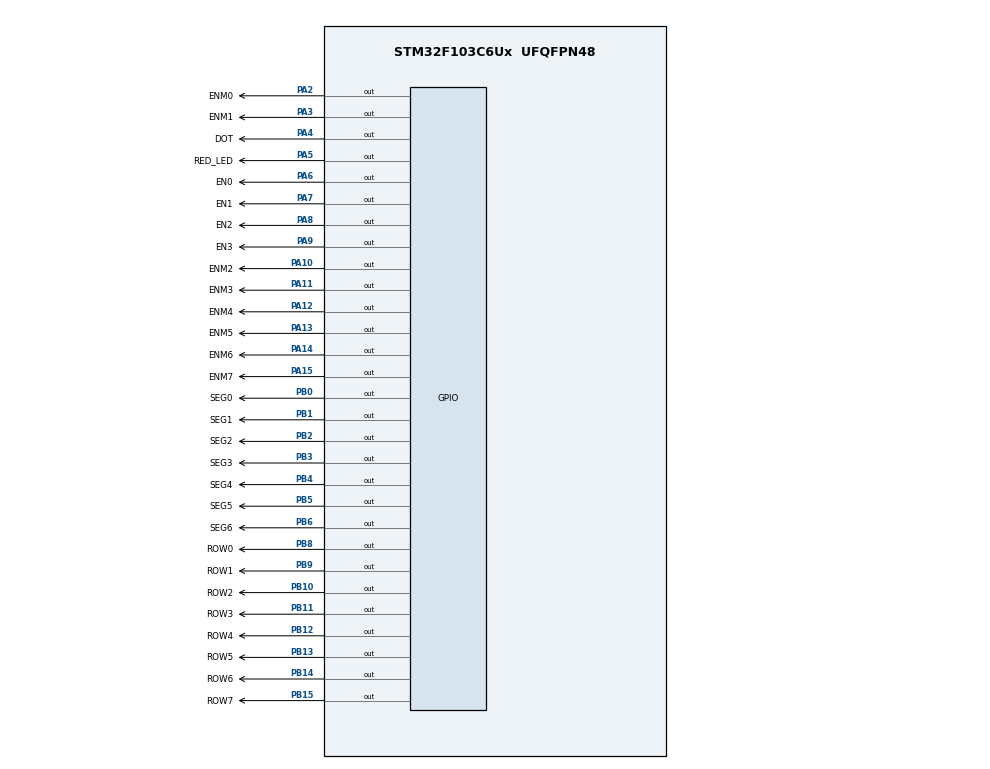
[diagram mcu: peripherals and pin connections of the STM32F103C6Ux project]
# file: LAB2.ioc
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Mcu.Family=STM32F1
Mcu.Name=STM32F103C6Ux
Mcu.Package=UFQFPN48
NVIC.PriorityGroup=NVIC_PRIORITYGROUP_4
NVIC.TIM2_IRQn=true\:0\:0\:false\:false\:true\:true\:true
PA10.GPIO_Label=ENM2
PA10.Signal=GPIO_Output
PA11.GPIO_Label=ENM3
PA11.Signal=GPIO_Output
PA12.GPIO_Label=ENM4
PA12.Signal=GPIO_Output
PA13.GPIO_Label=ENM5
PA13.Signal=GPIO_Output
PA14.GPIO_Label=ENM6
PA14.Signal=GPIO_Output
PA15.GPIO_Label=ENM7
PA15.Signal=GPIO_Output
PA2.GPIO_Label=ENM0
PA2.Signal=GPIO_Output
PA3.GPIO_Label=ENM1
PA3.Signal=GPIO_Output
PA4.GPIO_Label=DOT
PA4.Signal=GPIO_Output
PA5.GPIO_Label=RED_LED
PA5.Signal=GPIO_Output
PA6.GPIO_Label=EN0
PA6.Signal=GPIO_Output
PA7.GPIO_Label=EN1
PA7.Signal=GPIO_Output
PA8.GPIO_Label=EN2
PA8.Signal=GPIO_Output
PA9.GPIO_Label=EN3
PA9.Signal=GPIO_Output
PB0.GPIO_Label=SEG0
PB0.Signal=GPIO_Output
PB1.GPIO_Label=SEG1
PB1.Signal=GPIO_Output
PB10.GPIO_Label=ROW2
PB10.Signal=GPIO_Output
PB11.GPIO_Label=ROW3
PB11.Signal=GPIO_Output
PB12.GPIO_Label=ROW4
PB12.Signal=GPIO_Output
PB13.GPIO_Label=ROW5
PB13.Signal=GPIO_Output
PB14.GPIO_Label=ROW6
PB14.Signal=GPIO_Output
PB15.GPIO_Label=ROW7
PB15.Signal=GPIO_Output
PB2.GPIO_Label=SEG2
PB2.Signal=GPIO_Output
PB3.GPIO_Label=SEG3
PB3.Signal=GPIO_Output
PB4.GPIO_Label=SEG4
PB4.Signal=GPIO_Output
PB5.GPIO_Label=SEG5
PB5.Signal=GPIO_Output
PB6.GPIO_Label=SEG6
PB6.Signal=GPIO_Output
PB8.GPIO_Label=ROW0
PB8.Signal=GPIO_Output
PB9.GPIO_Label=ROW1
PB9.Signal=GPIO_Output
ProjectManager.HeapSize=0x200
ProjectManager.StackSize=0x400
ProjectManager.TargetToolchain=STM32CubeIDE
RCC.APB1Freq_Value=8000000
RCC.APB2Freq_Value=8000000
TIM2.Period=9
TIM2.Prescaler=7999
VP_SYS_VS_ND.Mode=No_Debug
VP_TIM2_VS_ClockSourceINT.Mode=Internal
board=custom

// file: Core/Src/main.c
/* USER CODE BEGIN Header */
/**
  ******************************************************************************
  * @file           : main.c
  * @brief          : Main program body
  ******************************************************************************
  * @attention
  *
  * <h2><center>&copy; Copyright (c) 2024 STMicroelectronics.
  * All rights reserved.</center></h2>
  *
  * This software component is licensed by ST under BSD 3-Clause license,
  * the "License"; You may not use this file except in compliance with the
  * License. You may obtain a copy of the License at:
  *                        opensource.org/licenses/BSD-3-Clause
  *
  ******************************************************************************
  */
/* USER CODE END Header */
#include "main.h"

/* USER CODE BEGIN Includes */
#include "global.h"
//#include "button.h"
/* USER CODE END Includes */

TIM_HandleTypeDef htim2;

void SystemClock_Config(void);
static void MX_TIM2_Init(void);
static void MX_GPIO_Init(void);

int main(void)
{

  /* MCU Configuration--------------------------------------------------------*/

  /* Reset of all peripherals, Initializes the Flash interface and the Systick. */
  HAL_Init();

  /* Configure the system clock */
  SystemClock_Config();

  /* Initialize all configured peripherals */
  MX_TIM2_Init();
  MX_GPIO_Init();
  /* USER CODE BEGIN 2 */
  HAL_TIM_Base_Start_IT(&htim2);
  /* USER CODE END 2 */

  /* Infinite loop */
  /* USER CODE BEGIN WHILE */
  setTimer(0, 100);
  setTimer(1, 5);
  setTimer(2, 100);
  while (1)
  {
    /* USER CODE END WHILE */

    /* USER CODE BEGIN 3 */
	  if (timer_flag[0] == 1) {
		  HAL_GPIO_TogglePin(DOT_GPIO_Port, DOT_Pin);
		  second++;
		  	  if (second >= 60){
		  		  second = 0;
		  		  minute++;
		  	  }
		  	  if (minute >= 60){
		  		  minute = 0;
		  		  hour++;
		  	  }
		  	  if (hour >= 24) hour = 0;
		  	  updateClockBuffer();
		  setTimer(0, 100);
	  }

	  if (timer_flag[1] == 1){
	  		  setTimer(1, 2);
	  		  	  	  	  	HAL_GPIO_WritePin(ENM0_GPIO_Port, ENM0_Pin, 1);
	  			        	HAL_GPIO_WritePin(ENM1_GPIO_Port, ENM1_Pin, 1);
	  			        	HAL_GPIO_WritePin(ENM2_GPIO_Port, ENM2_Pin, 1);
	  			        	HAL_GPIO_WritePin(ENM3_GPIO_Port, ENM3_Pin, 1);
	  			        	HAL_GPIO_WritePin(ENM4_GPIO_Port, ENM4_Pin, 1);
	  			        	HAL_GPIO_WritePin(ENM5_GPIO_Port, ENM5_Pin, 1);
	  			        	HAL_GPIO_WritePin(ENM6_GPIO_Port, ENM6_Pin, 1);
	  			        	HAL_GPIO_WritePin(ENM7_GPIO_Port, ENM7_Pin, 1);
	  		  //update7SEG(index_led);     // Call the update function for current index

	  		  updateLEDMatrix(index_led_matrix);
	  		  //index_led++;               // Move to the next segment
	  		  index_led_matrix++;
	  		  if (index_led_matrix >= MAX_LED_MATRIX) {

	  			index_led_matrix = 0;
	  		  }

	  		  //if (index_led >= MAX_LED) index_led = 0;// Reset the index to stay in the valid range
	  }

	  if (timer_flag[2] == 1)
	  {
		  setTimer(2, 100);
		  updateMatrixBuffer();
	  }

  }
  /* USER CODE END 3 */
}

void SystemClock_Config(void)
{
  RCC_OscInitTypeDef RCC_OscInitStruct = {0};
  RCC_ClkInitTypeDef RCC_ClkInitStruct = {0};

  /** Initializes the RCC Oscillators according to the specified parameters
  * in the RCC_OscInitTypeDef structure.
  */
  RCC_OscInitStruct.OscillatorType = RCC_OSCILLATORTYPE_HSI;
  RCC_OscInitStruct.HSIState = RCC_HSI_ON;
  RCC_OscInitStruct.HSICalibrationValue = RCC_HSICALIBRATION_DEFAULT;
  RCC_OscInitStruct.PLL.PLLState = RCC_PLL_NONE;
  if (HAL_RCC_OscConfig(&RCC_OscInitStruct) != HAL_OK)
  {
    Error_Handler();
  }
  /** Initializes the CPU, AHB and APB buses clocks
  */
  RCC_ClkInitStruct.ClockType = RCC_CLOCKTYPE_HCLK|RCC_CLOCKTYPE_SYSCLK
                              |RCC_CLOCKTYPE_PCLK1|RCC_CLOCKTYPE_PCLK2;
  RCC_ClkInitStruct.SYSCLKSource = RCC_SYSCLKSOURCE_HSI;
  RCC_ClkInitStruct.AHBCLKDivider = RCC_SYSCLK_DIV1;
  RCC_ClkInitStruct.APB1CLKDivider = RCC_HCLK_DIV1;
  RCC_ClkInitStruct.APB2CLKDivider = RCC_HCLK_DIV1;

  if (HAL_RCC_ClockConfig(&RCC_ClkInitStruct, FLASH_LATENCY_0) != HAL_OK)
  {
    Error_Handler();
  }
}

static void MX_TIM2_Init(void)
{

  TIM_ClockConfigTypeDef sClockSourceConfig = {0};
  TIM_MasterConfigTypeDef sMasterConfig = {0};

  htim2.Instance = TIM2;
  htim2.Init.Prescaler = 7999;
  htim2.Init.CounterMode = TIM_COUNTERMODE_UP;
  htim2.Init.Period = 9;
  htim2.Init.ClockDivision = TIM_CLOCKDIVISION_DIV1;
  htim2.Init.AutoReloadPreload = TIM_AUTORELOAD_PRELOAD_DISABLE;
  if (HAL_TIM_Base_Init(&htim2) != HAL_OK)
  {
    Error_Handler();
  }
  sClockSourceConfig.ClockSource = TIM_CLOCKSOURCE_INTERNAL;
  if (HAL_TIM_ConfigClockSource(&htim2, &sClockSourceConfig) != HAL_OK)
  {
    Error_Handler();
  }
  sMasterConfig.MasterOutputTrigger = TIM_TRGO_RESET;
  sMasterConfig.MasterSlaveMode = TIM_MASTERSLAVEMODE_DISABLE;
  if (HAL_TIMEx_MasterConfigSynchronization(&htim2, &sMasterConfig) != HAL_OK)
  {
    Error_Handler();
  }

}

static void MX_GPIO_Init(void)
{
  GPIO_InitTypeDef GPIO_InitStruct = {0};

  /* GPIO Ports Clock Enable */
  __HAL_RCC_GPIOA_CLK_ENABLE();
  __HAL_RCC_GPIOB_CLK_ENABLE();

  /*Configure GPIO pin Output Level */
  HAL_GPIO_WritePin(GPIOA, ENM0_Pin|ENM1_Pin|DOT_Pin|RED_LED_Pin
                          |EN0_Pin|EN1_Pin|EN2_Pin|EN3_Pin
                          |ENM2_Pin|ENM3_Pin|ENM4_Pin|ENM5_Pin
                          |ENM6_Pin|ENM7_Pin, GPIO_PIN_RESET);

  /*Configure GPIO pin Output Level */
  HAL_GPIO_WritePin(GPIOB, SEG0_Pin|SEG1_Pin|SEG2_Pin|ROW2_Pin
                          |ROW3_Pin|ROW4_Pin|ROW5_Pin|ROW6_Pin
                          |ROW7_Pin|SEG3_Pin|SEG4_Pin|SEG5_Pin
                          |SEG6_Pin|ROW0_Pin|ROW1_Pin, GPIO_PIN_RESET);

  /*Configure GPIO pins : ENM0_Pin ENM1_Pin DOT_Pin RED_LED_Pin
                           EN0_Pin EN1_Pin EN2_Pin EN3_Pin
                           ENM2_Pin ENM3_Pin ENM4_Pin ENM5_Pin
                           ENM6_Pin ENM7_Pin */
  GPIO_InitStruct.Pin = ENM0_Pin|ENM1_Pin|DOT_Pin|RED_LED_Pin
                          |EN0_Pin|EN1_Pin|EN2_Pin|EN3_Pin
                          |ENM2_Pin|ENM3_Pin|ENM4_Pin|ENM5_Pin
                          |ENM6_Pin|ENM7_Pin;
  GPIO_InitStruct.Mode = GPIO_MODE_OUTPUT_PP;
  GPIO_InitStruct.Pull = GPIO_NOPULL;
  GPIO_InitStruct.Speed = GPIO_SPEED_FREQ_LOW;
  HAL_GPIO_Init(GPIOA, &GPIO_InitStruct);

  /*Configure GPIO pins : SEG0_Pin SEG1_Pin SEG2_Pin ROW2_Pin
                           ROW3_Pin ROW4_Pin ROW5_Pin ROW6_Pin
                           ROW7_Pin SEG3_Pin SEG4_Pin SEG5_Pin
                           SEG6_Pin ROW0_Pin ROW1_Pin */
  GPIO_InitStruct.Pin = SEG0_Pin|SEG1_Pin|SEG2_Pin|ROW2_Pin
                          |ROW3_Pin|ROW4_Pin|ROW5_Pin|ROW6_Pin
                          |ROW7_Pin|SEG3_Pin|SEG4_Pin|SEG5_Pin
                          |SEG6_Pin|ROW0_Pin|ROW1_Pin;
  GPIO_InitStruct.Mode = GPIO_MODE_OUTPUT_PP;
  GPIO_InitStruct.Pull = GPIO_NOPULL;
  GPIO_InitStruct.Speed = GPIO_SPEED_FREQ_LOW;
  HAL_GPIO_Init(GPIOB, &GPIO_InitStruct);

}
/* USER CODE BEGIN 4 */

	void HAL_TIM_PeriodElapsedCallback(TIM_HandleTypeDef *htim)
	{
		timerRun();

	}
void Error_Handler(void)
{
  __disable_irq();
  while (1)
  {
  }
}

/************************ (C) COPYRIGHT STMicroelectronics *****END OF FILE****/
